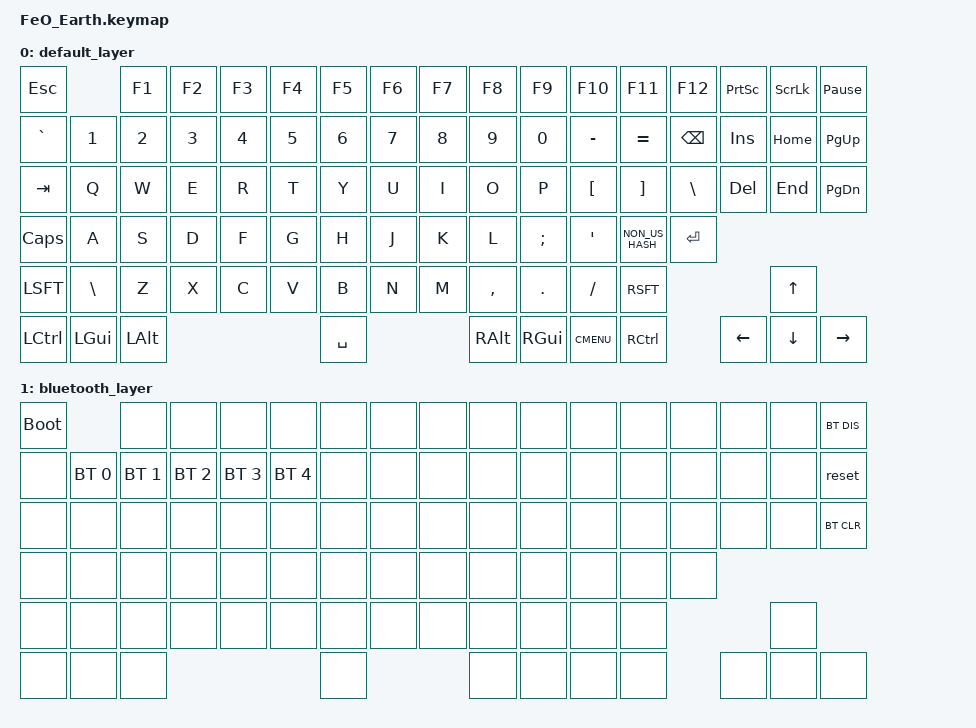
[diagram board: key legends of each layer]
#include <behaviors.dtsi>
#include <dt-bindings/zmk/keys.h>
#include <dt-bindings/zmk/bt.h>
#include <dt-bindings/zmk/outputs.h>
#include <dt-bindings/zmk/rgb.h>
#include <dt-bindings/zmk/ext_power.h>

#define DEFAULT 	0
#define BLUETOOTH 	1
// &kscan0 { debounce-period = <10>;};

/ {
	combos {
	compatible = "zmk,combos";
		combo_bt {
			timeout-ms = <10000>;
			key-positions = <84 85>;
			bindings = <&mo BLUETOOTH>;
		};
    };
};
 
/ {	
	keymap {
		compatible = "zmk,keymap";
		
		default_layer {
			bindings = <
	&kp ESC	  			&kp F1	&kp F2	&kp F3	&kp F4	&kp F5	&kp F6	&kp F7	&kp F8	 &kp F9	  &kp F10	  &kp F11	      &kp F12      	&kp PSCRN &kp SLCK &kp PAUSE_BREAK
	&kp GRAVE &kp N1 	&kp N2	&kp N3	&kp N4	&kp N5	&kp N6	&kp N7	&kp N8	&kp N9	 &kp N0	  &kp MINUS   &kp EQUAL	   	  &kp BSPC		&kp INS   &kp HOME &kp PG_UP
	&kp TAB	  &kp Q     &kp W   &kp E   &kp R   &kp T   &kp Y   &kp U   &kp I   &kp O    &kp P	  &kp LBKT    &kp RBKT  	  &kp BSLH		&kp DEL   &kp END  &kp PG_DN
    &kp CAPS  &kp A     &kp S   &kp D   &kp F   &kp G   &kp H   &kp J   &kp K   &kp L    &kp SEMI &kp SQT     &kp NON_US_HASH &kp ENTER
	&kp LSFT  &kp BSLH  &kp Z	&kp X   &kp C   &kp V   &kp B   &kp N   &kp M   &kp CMMA &kp DOT  &kp SLASH   &kp RSFT      				   		  &kp UP
    &kp LCTL  &kp LGUI  &kp LALT                        &kp SPACE               &kp RALT &kp RGUI &kp K_CMENU &kp RCTRL						&kp LEFT  &kp DOWN &kp RIGHT
			>;
		};
		bluetooth_layer {
			bindings = <
	&bootloader				&none	&none	&none	&none	&none	&none	&none	&none	 &none	  &none	  	  &none	      	  &none      	&none 	  &none	   &bt BT_DIS
	&none	  	&bt BT_SEL 0	&bt BT_SEL 1	&bt BT_SEL 2	&bt BT_SEL 3	&bt BT_SEL 4	&none	&none	&none	&none	 &none	  &none	  	  &none	      	  &none      	&none 	  &none	   &reset
	&none	  	&none		&none	&none	&none	&none	&none	&none	&none	&none	 &none	  &none	  	  &none	      	  &none      	&none 	  &none	   &bt BT_CLR
    &none	  	&none		&none	&none	&none	&none	&none	&none	&none	&none	 &none	  &none	  	  &none	      	  &none
	&none	  	&none		&none	&none	&none	&none	&none	&none	&none	&none	 &none	  &none	  	  &none     				   		  	  &none
    &none     	&none       &none                           &none                   &none    &none    &none       &none							&none  	  &none    &none
			>;
		}; 
	};
};
